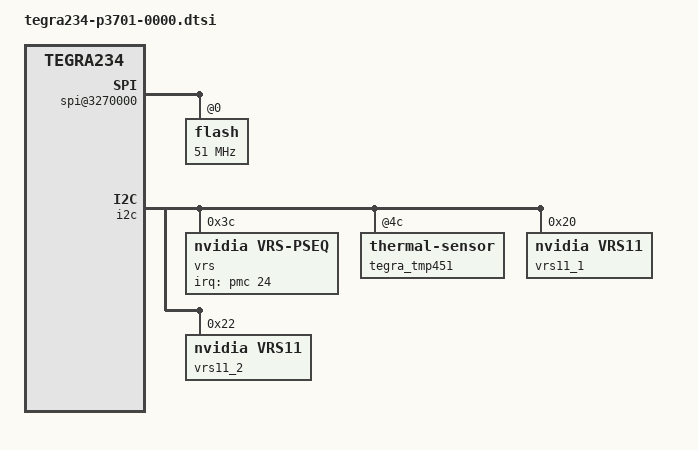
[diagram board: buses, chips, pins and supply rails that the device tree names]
// SPDX-License-Identifier: GPL-2.0-only
// SPDX-FileCopyrightText: Copyright (c) 2022-2024, NVIDIA CORPORATION & AFFILIATES.  All rights reserved.

#include "tegra234-p3701-0000-prod-overlay.dtsi"
#include "nv-soc/tegra234-soc-thermal.dtsi"
#include "nv-soc/tegra234-soc-thermal-slowdown-cluster.dtsi"
#include "nv-soc/tegra234-soc-thermal-shutdown.dtsi"
#include "nv-soc/tegra234-soc-thermal-trip-event.dtsi"

/ {
	bus@0 {
		spi@3270000 {
			flash@0 {
				spi-max-frequency = <51000000>;
				spi-tx-bus-width = <1>;
				spi-rx-bus-width = <1>;
			};
		};

		nvrng@3ae0000 {
			status = "okay";
		};
	};

	bpmp {
		i2c {
			vrs@3c {
				compatible = "nvidia,vrs-pseq";
				reg = <0x3c>;
				interrupt-parent = <&pmc>;
				/* VRS Wake ID is 24 */
				interrupts = <24 IRQ_TYPE_LEVEL_LOW>;
				interrupt-controller;
				#interrupt-cells = <2>;
				status = "okay";
			};

			tegra_tmp451: thermal-sensor@4c {
				#thermal-sensor-cells = <1>;
			};

			vrs11_1@20 {
				compatible = "nvidia,vrs11";
				reg = <0x20>;
				rail-name-loopA = "GPU";
				rail-name-loopB = "CPU";
			};

			vrs11_2@22 {
				compatible = "nvidia,vrs11";
				reg = <0x22>;
				rail-name-loopA = "SOC";
				rail-name-loopB = "CV";
			};
		};
	};

	eeprom-manager {
		bus@0 {
			i2c-bus = <&gen1_i2c>;
			eeprom@0 {
				slave-address = <0x50>;
				label = "cvm";
			};
		};
	};

	reserved-memory {
		linux,cma { /* Needed for nvgpu comptags */
			compatible = "shared-dma-pool";
			reusable;
			size = <0x0 0x10000000>; /* 256MB */
			alignment = <0x0 0x10000>;
			linux,cma-default;
			status = "okay";
		};
	};
};
